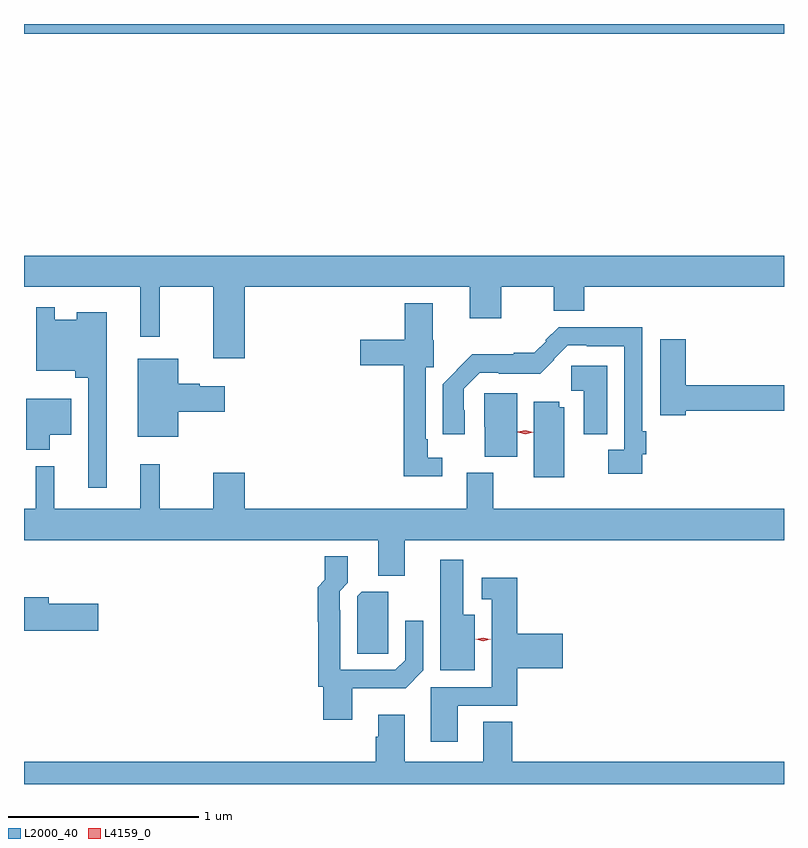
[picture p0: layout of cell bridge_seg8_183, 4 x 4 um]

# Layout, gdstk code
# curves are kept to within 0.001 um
import gdstk
lib = gdstk.Library(unit=1e-6, precision=1e-09)
def R(c, l, rs):  # rectangles x0, y0, x1, y1
    for r in rs: c.add(gdstk.rectangle(r[:2], r[2:], *l))
def P(c, l, *ps):  # polygons
    for p in ps: c.add(gdstk.Polygon(p, *l))
L2000_40 = (2000, 40)
L4159_0 = (4159, 0)

bridge_seg8_183 = lib.new_cell('bridge_seg8_183')
R(bridge_seg8_183, L2000_40, [(271.903,1117.832,275.903,1117.884)])
P(bridge_seg8_183, L2000_40, [(271.903,1116.5),(272.516,1116.5),(272.516,1116.237),(272.618,1116.237),(272.618,1116.5),(272.9,1116.5),(272.9,1116.126),(273.064,1116.126),(273.064,1116.5),(274.25,1116.5),(274.25,1116.336),(274.414,1116.336),(274.414,1116.5),(274.691,1116.5),(274.691,1116.374),(274.852,1116.374),(274.852,1116.5),(275.903,1116.5),(275.903,1116.664),(271.903,1116.664)],
  [(274.105,1115.601),(274.029,1115.601),(274.029,1115.698),(274.017,1115.698),(274.017,1116.077),(274.059,1116.077),(274.059,1116.219),(274.054,1116.219),(274.054,1116.415),(273.908,1116.415),(273.908,1116.223),(273.672,1116.223),(273.672,1116.089),(273.901,1116.089),(273.901,1115.504),(274.105,1115.504)],
  [(272.338,1116.367),(272.18,1116.367),(272.18,1116.328),(272.064,1116.328),(272.064,1116.394),(271.968,1116.394),(271.968,1116.059),(272.173,1116.059),(272.173,1116.023),(272.241,1116.023),(272.241,1115.442),(272.338,1115.442)],
  [(275.157,1115.62),(275.177,1115.62),(275.177,1115.74),(275.157,1115.74),(275.157,1116.289),(274.717,1116.289),(274.647,1116.219),(274.651,1116.215),(274.589,1116.153),(274.481,1116.153),(274.481,1116.145),(274.261,1116.145),(274.106,1115.988),(274.106,1115.724),(274.222,1115.724),(274.222,1115.85),(274.218,1115.85),(274.218,1115.964),(274.302,1116.048),(274.402,1116.048),(274.402,1116.044),(274.621,1116.044),(274.695,1116.117),(274.692,1116.12),(274.764,1116.192),(274.864,1116.192),(274.864,1116.188),(275.061,1116.188),(275.061,1115.644),(274.978,1115.644),(274.978,1115.516),(275.157,1115.516)],
  [(275.387,1115.848),(275.903,1115.848),(275.903,1115.984),(275.387,1115.984),(275.387,1116.226),(275.252,1116.226),(275.252,1115.825),(275.387,1115.825)],
  [(272.716,1115.843),(272.959,1115.843),(272.959,1115.977),(272.829,1115.977),(272.829,1115.99),(272.716,1115.99),(272.716,1116.121),(272.501,1116.121),(272.501,1115.711),(272.716,1115.711)],
  [(274.972,1116.086),(274.782,1116.086),(274.782,1115.954),(274.85,1115.954),(274.85,1115.725),(274.972,1115.725)],
  [(274.498,1115.94),(274.326,1115.94),(274.326,1115.763),(274.328,1115.763),(274.328,1115.606),(274.498,1115.606)],
  [(272.038,1115.723),(272.152,1115.723),(272.152,1115.911),(271.916,1115.911),(271.916,1115.642),(272.038,1115.642)],
  [(274.747,1115.868),(274.719,1115.868),(274.719,1115.896),(274.586,1115.896),(274.586,1115.498),(274.747,1115.498)],
  [(273.907,1115.168),(275.903,1115.168),(275.903,1115.332),(274.372,1115.332),(274.372,1115.521),(274.232,1115.521),(274.232,1115.332),(273.064,1115.332),(273.064,1115.521),(272.9,1115.521),(272.9,1115.332),(272.618,1115.332),(272.618,1115.566),(272.516,1115.566),(272.516,1115.332),(272.063,1115.332),(272.063,1115.557),(271.965,1115.557),(271.965,1115.332),(271.903,1115.332),(271.903,1115.168),(273.767,1115.168),(273.767,1114.981),(273.907,1114.981)],
  [(273.631,1114.388),(273.911,1114.388),(274.005,1114.482),(274.005,1114.744),(273.909,1114.744),(273.909,1114.536),(273.858,1114.485),(273.567,1114.485),(273.567,1114.799),(273.564,1114.799),(273.564,1114.899),(273.607,1114.942),(273.607,1115.083),(273.487,1115.083),(273.487,1114.959),(273.449,1114.92),(273.449,1114.738),(273.451,1114.738),(273.451,1114.395),(273.479,1114.395),(273.479,1114.221),(273.631,1114.221)],
  [(274.276,1114.774),(274.216,1114.774),(274.216,1115.065),(274.094,1115.065),(274.094,1114.484),(274.276,1114.484)],
  [(274.186,1114.296),(274.499,1114.296),(274.499,1114.493),(274.738,1114.493),(274.738,1114.676),(274.499,1114.676),(274.499,1114.969),(274.311,1114.969),(274.311,1114.856),(274.364,1114.856),(274.364,1114.392),(274.043,1114.392),(274.043,1114.107),(274.186,1114.107)],
  [(273.819,1114.681),(273.82,1114.681),(273.82,1114.896),(273.681,1114.896),(273.657,1114.872),(273.657,1114.57),(273.819,1114.57)],
  [(272.293,1114.833),(272.032,1114.833),(272.032,1114.867),(271.903,1114.867),(271.903,1114.738),(271.904,1114.738),(271.904,1114.691),(272.293,1114.691)],
  [(271.903,1113.884),(275.903,1113.884),(275.903,1114),(274.472,1114),(274.472,1114.211),(274.319,1114.211),(274.319,1114),(273.907,1114),(273.907,1114.249),(273.767,1114.249),(273.767,1114.133),(273.755,1114.133),(273.755,1114),(271.903,1114)])
P(bridge_seg8_183, L4159_0, [(274.542,1115.726),(274.501,1115.736),(274.501,1115.736),(274.501,1115.737),(274.542,1115.746),(274.583,1115.735),(274.583,1115.735),(274.583,1115.735)],
  [(274.32,1114.635),(274.281,1114.645),(274.28,1114.645),(274.281,1114.645),(274.32,1114.655),(274.358,1114.645),(274.359,1114.645),(274.358,1114.645)])

lib.write_gds('bridge_seg8_183.gds')
